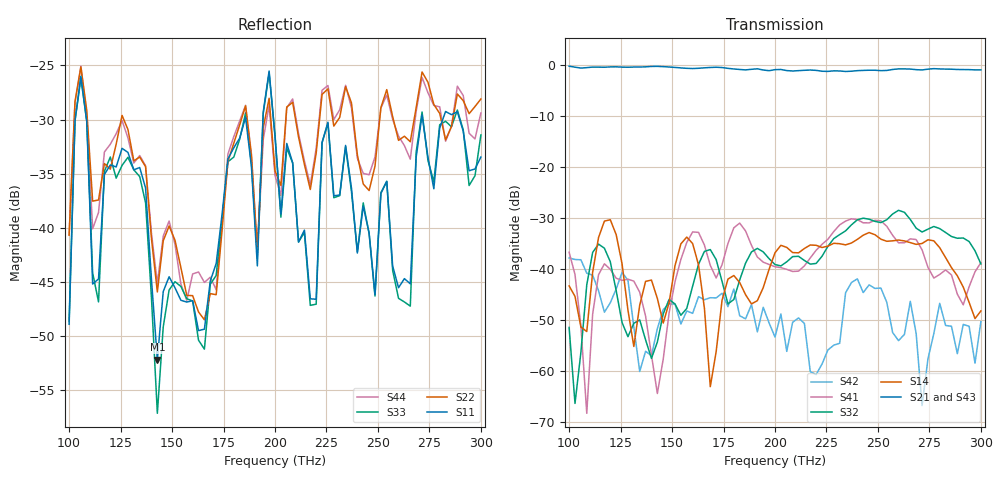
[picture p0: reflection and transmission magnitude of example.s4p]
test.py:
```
"""
Author: B. Guiana

Description:


Acknowledgement:

"""

import numpy as np
file = open('./Results/example.s4p', mode='r')
file_lines = file.readlines()
file_ack = '!This S-parameter file was generated as part of the OIDT. This project was completed as part of research conducted with my major professor and advisor, Prof. Ata Zadehgol, at the Applied and Computational Electromagnetics Signal and Power Integrity (ACEM-SPI) Lab while working toward the Ph.D. in Electrical Engineering at the University of Idaho, Moscow, Idaho, USA. This project was funded, in part, by the National Science Foundation (NSF); award #1816542 [1].\n'
file_lines.insert(0, file_ack)

file = open('./Results/example.s4p', mode='w')
file.writelines(file_lines)
file.close()
```
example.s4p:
!This S-parameter file was generated as part of the OIDT. This project was completed as part of research conducted with my major professor and advisor, Prof. Ata Zadehgol, at the Applied and Computational Electromagnetics Signal and Power Integrity (ACEM-SPI) Lab while working toward the Ph.D. in El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
!Created with skrf (http://scikit-rf.org).
# Hz S RI R 50.0
!freq ReS11 ImS11 ReS12 ImS12 ReS13 ImS13
! ReS14 ImS14
! ReS21 ImS21 ReS22 ImS22 ReS23 ImS23
! ReS24 ImS24
! ReS31 ImS31 ReS32 ImS32 ReS33 ImS33
! ReS34 ImS34
! ReS41 ImS41 ReS42 ImS42 ReS43 ImS43
! ReS44 ImS44
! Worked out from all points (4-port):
!   71 points, 100 THz to 300 THz, reference 50 ohm
!   strongest paths, dB at 100 THz, 148.6 THz, 200 THz, 251.4 THz, 300 THz:
!     S21: -0.3, -0.4, -0.9, -1.1, -1.0
!     S43: -0.4, -0.7, -1.0, -1.0, -0.9
!     S14: -43.3, -46.6, -36.8, -34.1, -48.2
!     S32: -51.4, -45.9, -39.1, -30.9, -39.0
!     S41: -36.7, -48.6, -39.5, -30.5, -38.7
!     S42: -37.8, -46.8, -53.3, -43.7, -50.3
!   lowest |S11| = -52.2 dB at 142.9 THz (marker M1), VSWR 1.00, Z = 49.8 - j0.0333 ohm
!   |S11| at or under -10 dB: start of sweep to end of sweep
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1.000033e14  -0.00356 -0.000504  0.9726 0.00498  0.0115 0.00337  0.00678 -0.000969
             0.9715 0.0119  -0.00799 -0.00468  0.0287 -0.00587  0.0102 0.00894
             0.0121 0.00343  0.00258 -0.000754  -0.00368 -0.000538  0.9673 0.00617
             0.0144 -0.00282  0.0105 0.0074  0.9557 0.0123  -0.00792 -0.00478
1.428619e14  -0.00244 -0.000334  0.9575 0.00348  0.00138 0.000448  0.00508 -0.000875
             0.9677 0.00366  -0.0044 -0.0025  0.0106 0.00276  -9.56e-05 0.0016
             -0.000261 -0.00199  0.00187 0.000491  -0.00131 -0.000478  0.95 0.00452
             0.000501 -0.000338  0.0013 -0.00227  0.9379 0.00253  -0.0048 -0.00281
3.0001e14  -0.0212 -0.00105  0.8656 0.011  8.95e-05 0.00349  0.00387 -0.000401
           0.8939 0.00577  -0.037 -0.0132  0.00516 0.000356  -0.00124 0.00559
           -0.00175 -0.0028  0.0111 -0.00203  -0.0268 -0.00154  0.8771 0.0123
           0.0115 0.000757  6.72e-05 -0.00306  0.8966 0.00452  -0.0321 -0.0109
